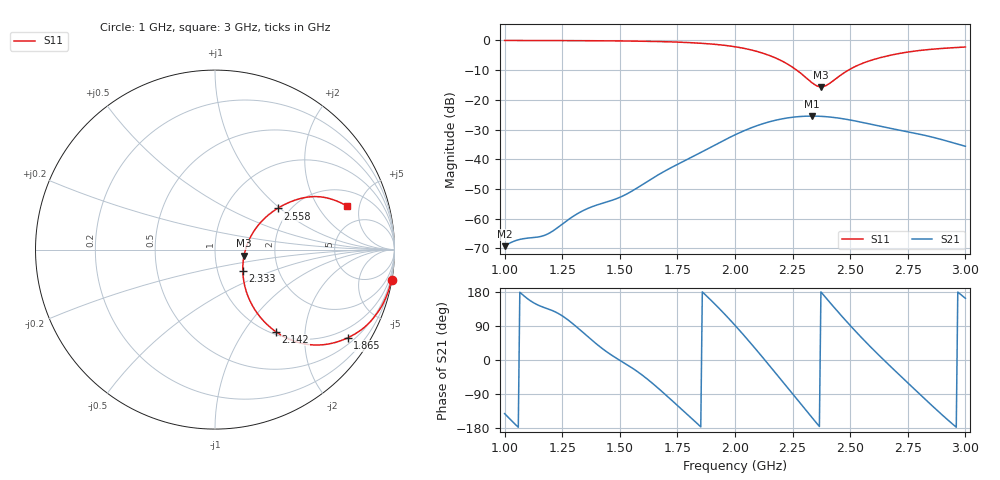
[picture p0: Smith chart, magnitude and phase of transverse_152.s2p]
! TOUCHSTONE file generated by CST MICROWAVE STUDIO
! Date and time: Tue Mar 11 13:57:12 2025
! Project name: transverse.cst
! Parameters = {Fracture=5; B=10; D=160; F=5; Feed=2.85625; L=100; M=20; R=0.384908; S=2; Theta=180; length=57.125; wave=114.25}
! Header version: 2024
! Port assignment regex: !\s*Touchstone port\s*([0-9]+)\s*=\s*(CST MWS port|CST DES external port|CST DES block port)\s*(.+)\s* \(\"(.*)\"\)(\s*mode\s*([0-9]+))?.*
! Touchstone port assignment:
! Touchstone port 1 = CST MWS port 1 ("")
! Touchstone port 2 = CST MWS port 2 ("")
# GHz S MA R 50
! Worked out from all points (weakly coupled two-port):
!   304 points, 1 GHz to 3 GHz, reference 50 ohm
!   highest |S21| = -25.48 dB at 2.333 GHz (marker M1); lowest = -69.3 dB at 1 GHz (marker M2)
!   lowest |S11| = -15.6 dB at 2.373 GHz (marker M3), VSWR 1.40, Z = 69.1 - j4.83 ohm
!   |S11| at or under -10 dB: 2.268 GHz to 2.492 GHz (224.4 MHz wide, 9.43 % of centre)
!   S12 and S22 are empty: the file has one direction only
!   S11 on the Smith chart (normalised r, x): 1 GHz: 0, -12; 1.865 GHz: 0.68, -3.18; 2.142 GHz: 1.04, -1.42; 2.333 GHz: 1.32, -0.33; 2.558 GHz: 1.73, +0.96; 3 GHz: 3.10, +3.75
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1  0.9979 -9.8  0.0003442 -141.5  0 0.0  0 0.0
1.05941  0.9968 -10.6  0.0004408 -177.5  0 0.0  0 0.0
1.15182  0.9953 -11.9  0.0004959 143.1  0 0.0  0 0.0
1.18482  0.9948 -12.4  0.0005468 135.6  0 0.0  0 0.0
1.33663  0.9896 -15.2  0.00134 74.6  0 0.0  0 0.0
1.51485  0.9784 -19.4  0.002426 -6.3  0 0.0  0 0.0
1.66667  0.9573 -24.2  0.00546 -74.5  0 0.0  0 0.0
1.86469  0.888 -33.6  0.01382 176.0  0 0.0  0 0.0
2.0033  0.7785 -43.1  0.0261 89.4  0 0.0  0 0.0
2.07591  0.6824 -48.7  0.03444 38.8  0 0.0  0 0.0
2.14191  0.571 -53.4  0.04189 -9.1  0 0.0  0 0.0
2.24092  0.3729 -56.2  0.05039 -82.8  0 0.0  0 0.0
2.33333  0.1952 -37.5  0.05323 -151.4  0 0.0  0 0.0
2.33993  0.1867 -34.1  0.05322 -156.3  0 0.0  0 0.0
2.37294  0.1652 -11.9  0.05273 179.7  0 0.0  0 0.0
2.39934  0.1771 6.3  0.05188 160.7  0 0.0  0 0.0
2.46535  0.2715 29.0  0.04824 114.5  0 0.0  0 0.0
2.51155  0.3477 32.8  0.04487 83.4  0 0.0  0 0.0
2.55776  0.4174 33.4  0.04126 53.7  0 0.0  0 0.0
2.66997  0.5574 30.8  0.03339 -14.1  0 0.0  0 0.0
2.82838  0.6945 24.3  0.02501 -105.3  0 0.0  0 0.0
3  0.7737 18.3  0.01652 162.7  0 0.0  0 0.0
